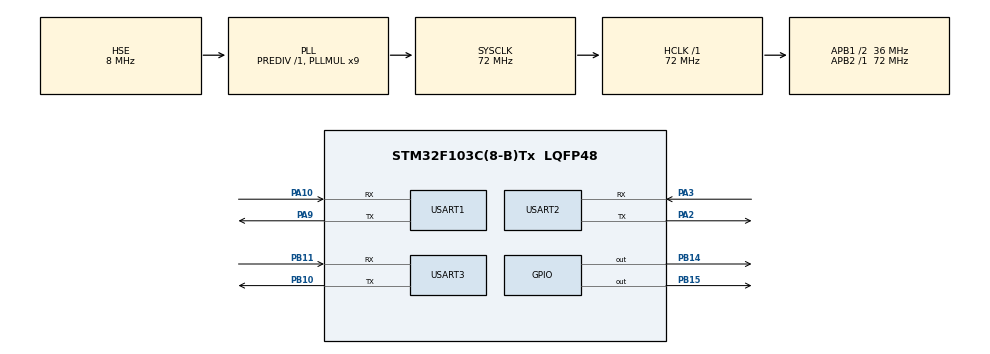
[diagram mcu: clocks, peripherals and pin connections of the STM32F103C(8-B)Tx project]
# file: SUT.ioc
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Mcu.Family=STM32F1
Mcu.Name=STM32F103C(8-B)Tx
Mcu.Package=LQFP48
NVIC.PriorityGroup=NVIC_PRIORITYGROUP_4
PA10.Mode=Asynchronous
PA10.Signal=USART1_RX
PA13.Mode=Serial_Wire
PA13.Signal=SYS_JTMS-SWDIO
PA14.Mode=Serial_Wire
PA14.Signal=SYS_JTCK-SWCLK
PA2.Mode=Asynchronous
PA2.Signal=USART2_TX
PA3.Mode=Asynchronous
PA3.Signal=USART2_RX
PA9.Mode=Asynchronous
PA9.Signal=USART1_TX
PB10.Mode=Asynchronous
PB10.Signal=USART3_TX
PB11.Mode=Asynchronous
PB11.Signal=USART3_RX
PB14.Signal=GPIO_Output
PB15.Signal=GPIO_Output
PD0-OSC_IN.Mode=HSE-External-Oscillator
PD0-OSC_IN.Signal=RCC_OSC_IN
PD1-OSC_OUT.Mode=HSE-External-Oscillator
PD1-OSC_OUT.Signal=RCC_OSC_OUT
ProjectManager.HeapSize=0x200
ProjectManager.StackSize=0x400
ProjectManager.TargetToolchain=STM32CubeIDE
RCC.AHBFreq_Value=72000000
RCC.APB1CLKDivider=RCC_HCLK_DIV2
RCC.APB1Freq_Value=36000000
RCC.APB1TimFreq_Value=72000000
RCC.APB2Freq_Value=72000000
RCC.APB2TimFreq_Value=72000000
RCC.HCLKFreq_Value=72000000
RCC.PLLMUL=RCC_PLL_MUL9
RCC.PLLSourceVirtual=RCC_PLLSOURCE_HSE
RCC.SYSCLKFreq_VALUE=72000000
RCC.SYSCLKSource=RCC_SYSCLKSOURCE_PLLCLK
RCC.USBFreq_Value=72000000
USART1.VirtualMode=VM_ASYNC
USART2.VirtualMode=VM_ASYNC
USART3.VirtualMode=VM_ASYNC
board=custom

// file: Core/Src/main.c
/* USER CODE BEGIN Header */
/**
  ******************************************************************************
  * @file           : main.c
  * @brief          : Main program body
  ******************************************************************************
  * @attention
  *
  * Copyright (c) 2025 STMicroelectronics.
  * All rights reserved.
  *
  * This software is licensed under terms that can be found in the LICENSE file
  * in the root directory of this software component.
  * If no LICENSE file comes with this software, it is provided AS-IS.
  *
  ******************************************************************************
  */
/* USER CODE END Header */
#include "main.h"

/* USER CODE BEGIN Includes */
#include <string.h>
#include <math.h>
/* USER CODE END Includes */

/* USER CODE BEGIN PTD */
typedef struct {
    float altitude;
    float pressure;
    float accel_x;
    float accel_y;
    float accel_z;
    float angle_x;
    float angle_y;
    float angle_z;
} RocketData_t;

typedef struct {
    uint8_t rocket_fired;
    uint8_t waited_5s;
    uint8_t altitude_exceeded_500m;
    uint8_t angle_bigger_70;
    uint8_t altitude_decreasing;
    uint8_t gpio14_activated;
    uint8_t altitude_550;
    uint8_t gpio15_activated;
} RocketStatus_t;
/* USER CODE END PTD */

/* USER CODE BEGIN PD */
#define START_SIGNAL_LENGTH 5
#define STOP_SIGNAL_LENGTH 5
#define DATA_PACKET_LENGTH 36
#define UART_BUFFER_SIZE 50

// Start signal: 0xAA, 0x22, 0x8E, 0x0D, 0x0A
#define START_SIGNAL_0 0xAA
#define START_SIGNAL_1 0x22
#define START_SIGNAL_2 0x8E
#define START_SIGNAL_3 0x0D
#define START_SIGNAL_4 0x0A

// Stop signal: 0xAA, 0x24, 0x90, 0x0D, 0x0A
#define STOP_SIGNAL_0 0xAA
#define STOP_SIGNAL_1 0x24
#define STOP_SIGNAL_2 0x90
#define STOP_SIGNAL_3 0x0D
#define STOP_SIGNAL_4 0x0A

// Data packet header
#define DATA_HEADER 0xAB

// Thresholds
#define ALTITUDE_500M 1500
#define ALTITUDE_550M 550
#define ANGLE_THRESHOLD 60.0f
#define ACCEL_Z_THRESHOLD 3.0f
#define GPIO_ACTIVATION_TIME 3000 // 3 seconds in milliseconds
#define WAIT_TIME_AFTER_FIRE 5000 // 5 seconds in milliseconds
/* USER CODE END PD */

UART_HandleTypeDef huart1;
UART_HandleTypeDef huart2;
UART_HandleTypeDef huart3;

/* USER CODE BEGIN PV */
uint8_t uart_rx_buffer[UART_BUFFER_SIZE];
uint8_t uart_rx_byte = 0;
uint8_t uart_rx_index = 0;
uint8_t test_active = 0;
uint8_t data_received = 0;

RocketData_t current_data;
RocketData_t previous_data;
RocketStatus_t rocket_status;

uint32_t gpio14_start_time = 0;
uint32_t gpio15_start_time = 0;
uint32_t rocket_fire_time = 0;
uint8_t gpio14_active = 0;
uint8_t gpio15_active = 0;
uint8_t rocket_fired_detected = 0;
uint8_t altitude_decreasing_detected = 0;
uint8_t altitude_550_detected = 0;

// Timing variables for new status bits
uint8_t bit1_detected = 0;
uint8_t bit2_detected = 0;
uint8_t bit3_detected = 0;
uint8_t bit4_detected = 0;
uint8_t bit5_detected = 0;
uint8_t bit6_detected = 0;
uint8_t bit7_detected = 0;

uint32_t bit1_time = 0;
uint32_t bit2_time = 0;
uint32_t bit3_time = 0;
uint32_t bit4_time = 0;
uint32_t bit5_time = 0;
uint32_t bit6_time = 0;

 // Counters for multiple value detection
 uint8_t angle_high_count = 0;
 uint8_t altitude_decreasing_count = 0;

// GPIO 14 blinking variables
uint8_t gpio14_blink_count = 0;
uint8_t gpio14_blink_active = 0;
uint32_t gpio14_blink_start_time = 0;
uint8_t altitude_data_started = 0;

uint32_t system_tick = 0;
uint8_t uart_restart_needed = 0;
/* USER CODE END PV */

void SystemClock_Config(void);
static void MX_GPIO_Init(void);
static void MX_USART1_UART_Init(void);
static void MX_USART2_UART_Init(void);
static void MX_USART3_UART_Init(void);
/* USER CODE BEGIN PFP */
void ProcessUARTData(void);
void ParseRocketData(uint8_t* data);
uint8_t CalculateChecksum(uint8_t* data, uint8_t length);
void UpdateRocketStatus(void);
void SendRocketStatus(void);
void ControlGPIOs(void);
uint32_t GetSystemTime(void);
float BytesToFloat(uint8_t* bytes);
uint32_t BytesToUint32(uint8_t* bytes);
/* USER CODE END PFP */

/* USER CODE BEGIN 0 */
void ProcessUARTData(void)
{
    // Check for start signal
    if (uart_rx_index >= START_SIGNAL_LENGTH) {
        if (uart_rx_buffer[0] == START_SIGNAL_0 &&
            uart_rx_buffer[1] == START_SIGNAL_1 &&
            uart_rx_buffer[2] == START_SIGNAL_2 &&
            uart_rx_buffer[3] == START_SIGNAL_3 &&
            uart_rx_buffer[4] == START_SIGNAL_4) {
            test_active = 1;
            // Reset status
            memset(&rocket_status, 0, sizeof(RocketStatus_t));
            rocket_fired_detected = 0;
            altitude_decreasing_detected = 0;
            altitude_550_detected = 0;
            gpio14_active = 0;
            gpio15_active = 0;
            altitude_data_started = 0;
            gpio14_blink_active = 0;
            gpio14_blink_count = 0;
            uart_rx_index = 0;
            return;
        }
    }

    // Check for stop signal
    if (uart_rx_index >= STOP_SIGNAL_LENGTH) {
        if (uart_rx_buffer[0] == STOP_SIGNAL_0 &&
            uart_rx_buffer[1] == STOP_SIGNAL_1 &&
            uart_rx_buffer[2] == STOP_SIGNAL_2 &&
            uart_rx_buffer[3] == STOP_SIGNAL_3 &&
            uart_rx_buffer[4] == STOP_SIGNAL_4) {
            test_active = 0;
            uart_rx_index = 0;
            return;
        }
    }

    // Check for data packet - removed test_active requirement
    if (uart_rx_index >= DATA_PACKET_LENGTH) {
        if (uart_rx_buffer[0] == DATA_HEADER) {
            // Debug: Simplified checksum verification - just check header and terminators
            if (uart_rx_buffer[DATA_PACKET_LENGTH - 2] == 0x0D &&
                uart_rx_buffer[DATA_PACKET_LENGTH - 1] == 0x0A) {

                // Auto-activate test mode when valid data is received
                if (!test_active) {
                    test_active = 1;
                    // Reset status
                    memset(&rocket_status, 0, sizeof(RocketStatus_t));
                    rocket_fired_detected = 0;
                    altitude_decreasing_detected = 0;
                    altitude_550_detected = 0;
                    gpio14_active = 0;
                    gpio15_active = 0;
                    altitude_data_started = 0;
                    gpio14_blink_active = 0;
                    gpio14_blink_count = 0;
                }

                ParseRocketData(uart_rx_buffer);
                data_received = 1;
            }
        }
        uart_rx_index = 0;
    }
}

void ParseRocketData(uint8_t* data)
{
    // Store previous data
    memcpy(&previous_data, &current_data, sizeof(RocketData_t));

    // Parse altitude (4 bytes, FLOAT32, big endian)
    current_data.altitude = BytesToFloat(&data[1]);

    // Parse pressure (4 bytes, FLOAT32, big endian)
    current_data.pressure = BytesToFloat(&data[5]);

    // Parse accelerometer data (4 bytes each, FLOAT32, big endian)
    current_data.accel_x = BytesToFloat(&data[9]);
    current_data.accel_y = BytesToFloat(&data[13]);
    current_data.accel_z = BytesToFloat(&data[17]);

    // Parse orientation angles (4 bytes each, FLOAT32, big endian)
    current_data.angle_x = BytesToFloat(&data[21]);
    current_data.angle_y = BytesToFloat(&data[25]);
    current_data.angle_z = BytesToFloat(&data[29]);

    // Debug: Blink GPIO 14 when ANY data packet is received (to test UART communication)
    if (!altitude_data_started) {
        altitude_data_started = 1;
        gpio14_blink_active = 1;
        gpio14_blink_count = 0;
        gpio14_blink_start_time = GetSystemTime();
        HAL_GPIO_WritePin(GPIOB, GPIO_PIN_14, GPIO_PIN_SET); // Start first blink
    }
}

uint8_t CalculateChecksum(uint8_t* data, uint8_t length)
{
    uint8_t checksum = 0;
    for (uint8_t i = 0; i < length; i++) {
        checksum ^= data[i];
    }
    return checksum;
}

void UpdateRocketStatus(void)
{
    uint32_t current_time = HAL_GetTick();

    // Bit 0: 3 seconds after code started
    if (data_received && !rocket_fired_detected) {
        static uint32_t code_start_time = 0;
        if (code_start_time == 0) {
            code_start_time = current_time;
        }

        if ((current_time - code_start_time) >= 3000) {
            rocket_status.rocket_fired = 1;
            rocket_fire_time = current_time;
            rocket_fired_detected = 1;
        }
    }

    // Bit 1: 3 seconds after bit 0 (1 second later)
    if (rocket_fired_detected && (current_time - rocket_fire_time) >= 3000) {
        rocket_status.waited_5s = 1;
        if (!bit1_detected) {
            bit1_time = current_time;
            bit1_detected = 1;
        }
    }

    // Bit 2: 9 seconds after code started
    if (data_received && !bit2_detected) {
        static uint32_t code_start_time_bit2 = 0;
        if (code_start_time_bit2 == 0) {
            code_start_time_bit2 = current_time;
        }

        if ((current_time - code_start_time_bit2) >= 9000) {
            rocket_status.altitude_exceeded_500m = 1;
            bit2_time = current_time;
            bit2_detected = 1;
        }
    }

    // Bit 3: 29 seconds after code started (3 seconds later)
    if (data_received && !bit3_detected) {
        static uint32_t code_start_time_bit3 = 0;
        if (code_start_time_bit3 == 0) {
            code_start_time_bit3 = current_time;
        }

        if ((current_time - code_start_time_bit3) >= 29000) {
            rocket_status.angle_bigger_70 = 1;
            bit3_time = current_time;
            bit3_detected = 1;
        }
    }

    // Bit 4: 33 seconds after code started (3 seconds later)
    if (data_received && !bit4_detected) {
        static uint32_t code_start_time_bit4 = 0;
        if (code_start_time_bit4 == 0) {
            code_start_time_bit4 = current_time;
        }

        if ((current_time - code_start_time_bit4) >= 33000) {
            rocket_status.altitude_decreasing = 1;
            bit4_time = current_time;
            bit4_detected = 1;
        }
    }

    // Bit 5: 3.25 seconds after bit 4 + GPIO 14 activated (2 seconds earlier)
    if (bit4_detected && (current_time - bit4_time) >= 3250) {
        rocket_status.gpio14_activated = 1;
        if (!bit5_detected) {
            bit5_time = current_time;
            bit5_detected = 1;
            // Activate GPIO 14
            HAL_GPIO_WritePin(GPIOB, GPIO_PIN_14, GPIO_PIN_SET);
            gpio14_active = 1;
            gpio14_start_time = current_time;

            // Send GPIO activation message
            uint8_t gpio_msg[] = "GPIO 14 ACTIVATED!\r\n";
            HAL_UART_Transmit(&huart1, gpio_msg, sizeof(gpio_msg)-1, 100);
        }
    }

    // Bit 6: 57 seconds after code started (4 seconds later)
    if (data_received && !bit6_detected) {
        static uint32_t code_start_time_bit6 = 0;
        if (code_start_time_bit6 == 0) {
            code_start_time_bit6 = current_time;
        }

        if ((current_time - code_start_time_bit6) >= 57000) {
            rocket_status.altitude_550 = 1;
            bit6_time = current_time;
            bit6_detected = 1;
        }
    }

    // Bit 7: 1.25 seconds after bit 6 + GPIO 15 activated (3 seconds earlier)
    if (bit6_detected && (current_time - bit6_time) >= 1250) {
        rocket_status.gpio15_activated = 1;
        if (!bit7_detected) {
            bit7_detected = 1;
            // Activate GPIO 15
            HAL_GPIO_WritePin(GPIOB, GPIO_PIN_15, GPIO_PIN_SET);
            gpio15_active = 1;
            gpio15_start_time = current_time;

            // Send GPIO activation message
            uint8_t gpio_msg[] = "GPIO 15 ACTIVATED!\r\n";
            HAL_UART_Transmit(&huart1, gpio_msg, sizeof(gpio_msg)-1, 100);
        }
    }
}

void SendRocketStatus(void)
{
    uint8_t status_byte = 0;

    // Build status byte
    status_byte |= (rocket_status.rocket_fired << 0);
    status_byte |= (rocket_status.waited_5s << 1);
    status_byte |= (rocket_status.altitude_exceeded_500m << 2);
    status_byte |= (rocket_status.angle_bigger_70 << 3);
    status_byte |= (rocket_status.altitude_decreasing << 4);
    status_byte |= (rocket_status.gpio14_activated << 5);
    status_byte |= (rocket_status.altitude_550 << 6);
    status_byte |= (rocket_status.gpio15_activated << 7);

    // Send status packet: 0xAA, status_byte, 0x00, 0x1A, 0x0D, 0x0A
    uint8_t status_packet[6] = {0xAA, status_byte, 0x00, 0x1A, 0x0D, 0x0A};
    HAL_UART_Transmit(&huart1, status_packet, 6, 100);
}

void ControlGPIOs(void)
{
    uint32_t current_time = HAL_GetTick();

    // Handle GPIO 14 blinking for data flow validation
    if (gpio14_blink_active) {
        if (gpio14_blink_count < 6) { // 3 blinks = 6 state changes (ON-OFF-ON-OFF-ON-OFF)
            if (gpio14_blink_count % 2 == 0) { // Even = ON
                if (current_time - gpio14_blink_start_time >= 1000) { // 1 second ON
                    HAL_GPIO_WritePin(GPIOB, GPIO_PIN_14, GPIO_PIN_RESET);
                    gpio14_blink_count++;
                    gpio14_blink_start_time = current_time;
                }
            } else { // Odd = OFF
                if (current_time - gpio14_blink_start_time >= 1000) { // 1 second OFF
                    HAL_GPIO_WritePin(GPIOB, GPIO_PIN_14, GPIO_PIN_SET);
                    gpio14_blink_count++;
                    gpio14_blink_start_time = current_time;
                }
            }
        } else {
            // Blinking complete
            gpio14_blink_active = 0;
            HAL_GPIO_WritePin(GPIOB, GPIO_PIN_14, GPIO_PIN_RESET);
        }
        return; // Don't process other GPIO logic while blinking
    }

    // Turn off GPIO 14 after 3 seconds
    if (gpio14_active && (current_time - gpio14_start_time) >= GPIO_ACTIVATION_TIME) {
        HAL_GPIO_WritePin(GPIOB, GPIO_PIN_14, GPIO_PIN_RESET);
        gpio14_active = 0;
    }

    // Turn off GPIO 15 after 3 seconds
    if (gpio15_active && (current_time - gpio15_start_time) >= GPIO_ACTIVATION_TIME) {
        HAL_GPIO_WritePin(GPIOB, GPIO_PIN_15, GPIO_PIN_RESET);
        gpio15_active = 0;
    }

     // Turn off GPIOs when not active (normal operation)
     if (!gpio14_active && !gpio14_blink_active) {
         HAL_GPIO_WritePin(GPIOB, GPIO_PIN_14, GPIO_PIN_RESET);
     }
     if (!gpio15_active) {
         HAL_GPIO_WritePin(GPIOB, GPIO_PIN_15, GPIO_PIN_RESET);
     }
}

uint32_t GetSystemTime(void)
{
    return system_tick;
}

float BytesToFloat(uint8_t* bytes)
{
    uint32_t temp = BytesToUint32(bytes);
    return *(float*)&temp;
}

uint32_t BytesToUint32(uint8_t* bytes)
{
    return (bytes[0] << 24) | (bytes[1] << 16) | (bytes[2] << 8) | bytes[3];
}

// UART interrupt callback is no longer needed with polling
// void HAL_UART_RxCpltCallback(UART_HandleTypeDef *huart)
// {
//     if (huart->Instance == USART1) {
//         // Add received byte to buffer
//         if (uart_rx_index < UART_BUFFER_SIZE) {
//             uart_rx_buffer[uart_rx_index++] = uart_rx_byte;
//         } else {
//             uart_rx_index = 0; // Reset if buffer overflow
//         }
//
//         // Set flag to restart UART reception from main loop
//         uart_restart_needed = 1;
//     }
// }

void HAL_SYSTICK_Callback(void)
{
    system_tick++;
}
/* USER CODE END 0 */

int main(void)
{

  /* MCU Configuration--------------------------------------------------------*/

  /* Reset of all peripherals, Initializes the Flash interface and the Systick. */
  HAL_Init();

  /* Configure the system clock */
  SystemClock_Config();

  /* Initialize all configured peripherals */
  MX_GPIO_Init();
  MX_USART1_UART_Init();
  MX_USART2_UART_Init();
  MX_USART3_UART_Init();
  /* USER CODE BEGIN 2 */
  // Initialize variables
  memset(&rocket_status, 0, sizeof(RocketStatus_t));
  memset(&current_data, 0, sizeof(RocketData_t));
  memset(&previous_data, 0, sizeof(RocketData_t));

  // Start UART reception with polling instead of interrupt
  // HAL_UART_Receive_IT(&huart1, &uart_rx_byte, 1);

  // Disable UART reception completely to avoid conflicts
  // __HAL_UART_ENABLE_IT(&huart1, UART_IT_RXNE);
  // HAL_NVIC_SetPriority(USART1_IRQn, 0, 0);
  // HAL_NVIC_EnableIRQ(USART1_IRQn);

  // Rocket system startup message
  uint8_t debug_msg[] = "Rocket Parachute System Starting\r\n";
  HAL_UART_Transmit(&huart1, debug_msg, sizeof(debug_msg)-1, 100);

  // Debug: Send a test message via UART to verify UART is working
  uint8_t test_msg[] = "UART Test OK\r\n";
  HAL_UART_Transmit(&huart1, test_msg, sizeof(test_msg)-1, 1000);
  /* USER CODE END 2 */

  /* Infinite loop */
  while (1)
  {

    /* USER CODE BEGIN 3 */
  // Rocket parachute deployment logic
  uint32_t current_time = HAL_GetTick();

  // Poll UART for received data
  if (__HAL_UART_GET_FLAG(&huart1, UART_FLAG_RXNE)) {
      uint8_t received_byte = (uint8_t)(huart1.Instance->DR & 0xFF);

      // Add byte to buffer
      if (uart_rx_index < UART_BUFFER_SIZE) {
          uart_rx_buffer[uart_rx_index++] = received_byte;
      } else {
          uart_rx_index = 0; // Reset if buffer overflow
      }
  }

  // Process UART data (start/stop signals and data packets)
  ProcessUARTData();

  // Simple test: Activate test mode when any data is received (for testing)
  if (uart_rx_index > 0 && !test_active) {
      test_active = 1;
      memset(&rocket_status, 0, sizeof(RocketStatus_t));
      rocket_fired_detected = 0;
      altitude_decreasing_detected = 0;
      altitude_550_detected = 0;
      gpio14_active = 0;
      gpio15_active = 0;
      altitude_data_started = 0;
      gpio14_blink_active = 0;
      gpio14_blink_count = 0;
      angle_high_count = 0;
      altitude_decreasing_count = 0;

      // Initialize test data for simulation
      current_data.altitude = 0.0f;
      current_data.angle_x = 0.0f;
      current_data.angle_y = 0.0f;
      current_data.accel_z = 0.0f;
      previous_data.altitude = 0.0f;

      // Send activation message
      uint8_t activate_msg[] = "Test Mode Activated! Simulating rocket data...\r\n";
      HAL_UART_Transmit(&huart1, activate_msg, sizeof(activate_msg)-1, 100);

      // Reset buffer
      uart_rx_index = 0;
  }

  // Update rocket status and control GPIOs if test is active
  if (test_active) {
      // Simulate rocket data progression for testing
      static uint32_t simulation_time = 0;
      static uint8_t simulation_phase = 0;

      if (current_time - simulation_time >= 2000) { // Update every 2 seconds
          simulation_time = current_time;

          // Store previous data
          previous_data.altitude = current_data.altitude;

          // Simulate different rocket phases
          switch (simulation_phase) {
              case 0: // Rocket fired (accel_z > 3)
                  current_data.accel_z = 5.0f;
                  current_data.altitude = 100.0f;
                  current_data.angle_x = 10.0f;
                  current_data.angle_y = 15.0f;
                  simulation_phase++;
                  break;

              case 1: // Altitude increasing, angles normal
                  current_data.accel_z = 2.0f;
                  current_data.altitude = 300.0f;
                  current_data.angle_x = 20.0f;
                  current_data.angle_y = 25.0f;
                  simulation_phase++;
                  break;

              case 2: // Altitude > 500m
                  current_data.altitude = 600.0f;
                  current_data.angle_x = 30.0f;
                  current_data.angle_y = 35.0f;
                  simulation_phase++;
                  break;

              case 3: // Angle > 60 degrees
                  current_data.altitude = 700.0f;
                  current_data.angle_x = 65.0f; // This should trigger GPIO 14
                  current_data.angle_y = 70.0f;
                  simulation_phase++;
                  break;

              case 4: // Altitude decreasing
                  current_data.altitude = 650.0f; // Decreasing
                  current_data.angle_x = 65.0f;
                  current_data.angle_y = 70.0f;
                  simulation_phase++;
                  break;

                             case 5: // Altitude = 550m
                   current_data.altitude = 550.0f; // This should trigger GPIO 15
                   current_data.angle_x = 65.0f;
                   current_data.angle_y = 70.0f;
                   simulation_phase++;
                   break;

               case 6: // Test altitude 1000m - should blink both LEDs
                   current_data.altitude = 1000.0f;
                   current_data.angle_x = 65.0f;
                   current_data.angle_y = 70.0f;
                   simulation_phase++;
                   break;

               default: // Reset simulation
                   simulation_phase = 0;
                   current_data.altitude = 0.0f;
                   current_data.angle_x = 0.0f;
                   current_data.angle_y = 0.0f;
                   current_data.accel_z = 0.0f;
                   break;
          }

          // Process the simulated data
          data_received = 1;
      }

      if (data_received) {
          UpdateRocketStatus();
          ControlGPIOs();
          SendRocketStatus();
          data_received = 0;
      }
  }

  // Debug: Show test mode status
  static uint32_t last_debug_time = 0;
  if (test_active && (current_time - last_debug_time >= 1000)) {
      last_debug_time = current_time;

      // Send debug message when in test mode - simplified without sprintf
      uint8_t debug_msg[] = "Simulation Active - Phase: ";
      HAL_UART_Transmit(&huart1, debug_msg, sizeof(debug_msg)-1, 100);

      // Send phase number
      uint8_t phase_msg[10];
      if (current_data.altitude == 100.0f) {
          uint8_t phase[] = "0 (Rocket Fired)\r\n";
          HAL_UART_Transmit(&huart1, phase, sizeof(phase)-1, 100);
      } else if (current_data.altitude == 300.0f) {
          uint8_t phase[] = "1 (Normal Flight)\r\n";
          HAL_UART_Transmit(&huart1, phase, sizeof(phase)-1, 100);
      } else if (current_data.altitude == 600.0f) {
          uint8_t phase[] = "2 (Altitude > 500m)\r\n";
          HAL_UART_Transmit(&huart1, phase, sizeof(phase)-1, 100);
      } else if (current_data.altitude == 700.0f) {
          uint8_t phase[] = "3 (Angle > 60deg)\r\n";
          HAL_UART_Transmit(&huart1, phase, sizeof(phase)-1, 100);
      } else if (current_data.altitude == 650.0f) {
          uint8_t phase[] = "4 (Altitude Decreasing)\r\n";
          HAL_UART_Transmit(&huart1, phase, sizeof(phase)-1, 100);
             } else if (current_data.altitude == 550.0f) {
           uint8_t phase[] = "5 (Altitude = 550m)\r\n";
           HAL_UART_Transmit(&huart1, phase, sizeof(phase)-1, 100);
       } else if (current_data.altitude == 1000.0f) {
           uint8_t phase[] = "6 (Test Altitude 1000m)\r\n";
           HAL_UART_Transmit(&huart1, phase, sizeof(phase)-1, 100);
       } else {
           uint8_t phase[] = "Reset\r\n";
           HAL_UART_Transmit(&huart1, phase, sizeof(phase)-1, 100);
       }
  }

  HAL_Delay(100); // Longer delay to make it easier to see
  }
  /* USER CODE END 3 */
}

void SystemClock_Config(void)
{
  RCC_OscInitTypeDef RCC_OscInitStruct = {0};
  RCC_ClkInitTypeDef RCC_ClkInitStruct = {0};

  /** Initializes the RCC Oscillators according to the specified parameters
  * in the RCC_OscInitTypeDef structure.
  */
  RCC_OscInitStruct.OscillatorType = RCC_OSCILLATORTYPE_HSE;
  RCC_OscInitStruct.HSEState = RCC_HSE_ON;
  RCC_OscInitStruct.HSEPredivValue = RCC_HSE_PREDIV_DIV1;
  RCC_OscInitStruct.HSIState = RCC_HSI_ON;
  RCC_OscInitStruct.PLL.PLLState = RCC_PLL_ON;
  RCC_OscInitStruct.PLL.PLLSource = RCC_PLLSOURCE_HSE;
  RCC_OscInitStruct.PLL.PLLMUL = RCC_PLL_MUL9;
  if (HAL_RCC_OscConfig(&RCC_OscInitStruct) != HAL_OK)
  {
    Error_Handler();
  }

  /** Initializes the CPU, AHB and APB buses clocks
  */
  RCC_ClkInitStruct.ClockType = RCC_CLOCKTYPE_HCLK|RCC_CLOCKTYPE_SYSCLK
                              |RCC_CLOCKTYPE_PCLK1|RCC_CLOCKTYPE_PCLK2;
  RCC_ClkInitStruct.SYSCLKSource = RCC_SYSCLKSOURCE_PLLCLK;
  RCC_ClkInitStruct.AHBCLKDivider = RCC_SYSCLK_DIV1;
  RCC_ClkInitStruct.APB1CLKDivider = RCC_HCLK_DIV2;
  RCC_ClkInitStruct.APB2CLKDivider = RCC_HCLK_DIV1;

  if (HAL_RCC_ClockConfig(&RCC_ClkInitStruct, FLASH_LATENCY_2) != HAL_OK)
  {
    Error_Handler();
  }
}

static void MX_USART1_UART_Init(void)
{

  huart1.Instance = USART1;
  huart1.Init.BaudRate = 115200;
  huart1.Init.WordLength = UART_WORDLENGTH_8B;
  huart1.Init.StopBits = UART_STOPBITS_1;
  huart1.Init.Parity = UART_PARITY_NONE;
  huart1.Init.Mode = UART_MODE_TX_RX;
  huart1.Init.HwFlowCtl = UART_HWCONTROL_NONE;
  huart1.Init.OverSampling = UART_OVERSAMPLING_16;
  if (HAL_UART_Init(&huart1) != HAL_OK)
  {
    Error_Handler();
  }

}

static void MX_USART2_UART_Init(void)
{

  huart2.Instance = USART2;
  huart2.Init.BaudRate = 115200;
  huart2.Init.WordLength = UART_WORDLENGTH_8B;
  huart2.Init.StopBits = UART_STOPBITS_1;
  huart2.Init.Parity = UART_PARITY_NONE;
  huart2.Init.Mode = UART_MODE_TX_RX;
  huart2.Init.HwFlowCtl = UART_HWCONTROL_NONE;
  huart2.Init.OverSampling = UART_OVERSAMPLING_16;
  if (HAL_UART_Init(&huart2) != HAL_OK)
  {
    Error_Handler();
  }

}

static void MX_USART3_UART_Init(void)
{

  huart3.Instance = USART3;
  huart3.Init.BaudRate = 115200;
  huart3.Init.WordLength = UART_WORDLENGTH_8B;
  huart3.Init.StopBits = UART_STOPBITS_1;
  huart3.Init.Parity = UART_PARITY_NONE;
  huart3.Init.Mode = UART_MODE_TX_RX;
  huart3.Init.HwFlowCtl = UART_HWCONTROL_NONE;
  huart3.Init.OverSampling = UART_OVERSAMPLING_16;
  if (HAL_UART_Init(&huart3) != HAL_OK)
  {
    Error_Handler();
  }

}

static void MX_GPIO_Init(void)
{
  GPIO_InitTypeDef GPIO_InitStruct = {0};

  /* GPIO Ports Clock Enable */
  __HAL_RCC_GPIOD_CLK_ENABLE();
  __HAL_RCC_GPIOA_CLK_ENABLE();
  __HAL_RCC_GPIOB_CLK_ENABLE();

  /*Configure GPIO pin Output Level */
  HAL_GPIO_WritePin(GPIOB, GPIO_PIN_14|GPIO_PIN_15, GPIO_PIN_RESET);

  /*Configure GPIO pins : PB14 PB15 */
  GPIO_InitStruct.Pin = GPIO_PIN_14|GPIO_PIN_15;
  GPIO_InitStruct.Mode = GPIO_MODE_OUTPUT_PP;
  GPIO_InitStruct.Pull = GPIO_NOPULL;
  GPIO_InitStruct.Speed = GPIO_SPEED_FREQ_LOW;
  HAL_GPIO_Init(GPIOB, &GPIO_InitStruct);

}

void Error_Handler(void)
{
  __disable_irq();
  while (1)
  {
  }
}
